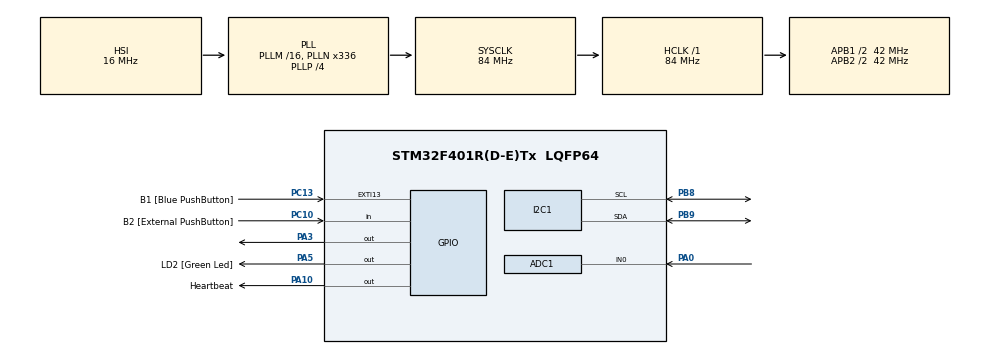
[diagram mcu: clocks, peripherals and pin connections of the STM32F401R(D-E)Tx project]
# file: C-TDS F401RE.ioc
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ADC1.Channel-4\#ChannelRegularConversion=ADC_CHANNEL_0
ADC1.ContinuousConvMode=ENABLE
ADC1.DMAContinuousRequests=ENABLE
ADC1.NbrOfConversionFlag=1
ADC1.Rank-4\#ChannelRegularConversion=1
ADC1.SamplingTime-4\#ChannelRegularConversion=ADC_SAMPLETIME_3CYCLES
ADC1.ScanConvMode=ENABLE
ADC1.master=1
Dma.ADC1.0.Direction=DMA_PERIPH_TO_MEMORY
Dma.ADC1.0.FIFOMode=DMA_FIFOMODE_DISABLE
Dma.ADC1.0.Instance=DMA2_Stream0
Dma.ADC1.0.MemDataAlignment=DMA_MDATAALIGN_HALFWORD
Dma.ADC1.0.MemInc=DMA_MINC_ENABLE
Dma.ADC1.0.Mode=DMA_CIRCULAR
Dma.ADC1.0.PeriphDataAlignment=DMA_PDATAALIGN_HALFWORD
Dma.ADC1.0.PeriphInc=DMA_PINC_DISABLE
Dma.ADC1.0.Priority=DMA_PRIORITY_VERY_HIGH
Dma.Request0=ADC1
Mcu.Family=STM32F4
Mcu.Name=STM32F401R(D-E)Tx
Mcu.Package=LQFP64
Mcu.UserConstants=WWDG_WINDOW,66;WWDG_TICKS,74
NVIC.DMA2_Stream0_IRQn=true\:0\:0\:false\:false\:true\:false\:true\:true
NVIC.PriorityGroup=NVIC_PRIORITYGROUP_0
NVIC.TIM1_TRG_COM_TIM11_IRQn=true\:0\:0\:false\:false\:true\:true\:true\:true
NVIC.TIM1_UP_TIM10_IRQn=true\:0\:0\:false\:false\:true\:false\:true\:true
NVIC.TimeBase=TIM1_UP_TIM10_IRQn
NVIC.TimeBaseIP=TIM1
NVIC.WWDG_IRQn=true\:0\:0\:false\:false\:true\:true\:true\:true
PA0-WKUP.Signal=ADCx_IN0
PA10.GPIO_Label=Heartbeat
PA10.GPIO_PuPd=GPIO_PULLDOWN
PA10.GPIO_Speed=GPIO_SPEED_FREQ_VERY_HIGH
PA10.PinState=GPIO_PIN_RESET
PA10.Signal=GPIO_Output
PA13.GPIO_Label=TMS
PA13.Mode=Serial_Wire
PA13.Signal=SYS_JTMS-SWDIO
PA14.GPIO_Label=TCK
PA14.Mode=Serial_Wire
PA14.Signal=SYS_JTCK-SWCLK
PA3.GPIO_Speed=GPIO_SPEED_FREQ_VERY_HIGH
PA3.Signal=GPIO_Output
PA5.GPIO_Label=LD2 [Green Led]
PA5.GPIO_Mode=GPIO_MODE_OUTPUT_PP
PA5.GPIO_PuPd=GPIO_NOPULL
PA5.GPIO_Speed=GPIO_SPEED_FREQ_LOW
PA5.Signal=GPIO_Output
PB3.GPIO_Label=SWO
PB3.Signal=SYS_JTDO-SWO
PB8.Mode=I2C
PB8.Signal=I2C1_SCL
PB9.Mode=I2C
PB9.Signal=I2C1_SDA
PC10.GPIO_Label=B2 [External PushButton]
PC10.GPIO_Mode=GPIO_MODE_INPUT
PC10.GPIO_PuPd=GPIO_NOPULL
PC10.Signal=GPIO_Input
PC13-ANTI_TAMP.GPIO_Label=B1 [Blue PushButton]
PC13-ANTI_TAMP.GPIO_ModeDefaultEXTI=GPIO_MODE_IT_FALLING
PC13-ANTI_TAMP.GPIO_PuPd=GPIO_NOPULL
PC13-ANTI_TAMP.Signal=GPXTI13
PC14-OSC32_IN.Mode=LSE-External-Oscillator
PC14-OSC32_IN.Signal=RCC_OSC32_IN
PC15-OSC32_OUT.Mode=LSE-External-Oscillator
PC15-OSC32_OUT.Signal=RCC_OSC32_OUT
PH0\ -\ OSC_IN.Mode=HSE-External-Clock-Source
PH0\ -\ OSC_IN.Signal=RCC_OSC_IN
PH1\ -\ OSC_OUT.Mode=HSE-External-Clock-Source
PH1\ -\ OSC_OUT.Signal=RCC_OSC_OUT
ProjectManager.HeapSize=0x200
ProjectManager.StackSize=0x400
ProjectManager.TargetToolchain=STM32CubeIDE
RCC.48MHZClocksFreq_Value=48000000
RCC.AHBFreq_Value=84000000
RCC.APB1CLKDivider=RCC_HCLK_DIV2
RCC.APB1Freq_Value=42000000
RCC.APB1TimFreq_Value=84000000
RCC.APB2CLKDivider=RCC_HCLK_DIV2
RCC.APB2Freq_Value=42000000
RCC.APB2TimFreq_Value=84000000
RCC.CortexFreq_Value=84000000
RCC.HCLKFreq_Value=84000000
RCC.HSE_VALUE=8000000
RCC.HSI_VALUE=16000000
RCC.PLLN=336
RCC.PLLP=RCC_PLLP_DIV4
RCC.PLLQ=7
RCC.SYSCLKFreq_VALUE=84000000
RCC.SYSCLKSource=RCC_SYSCLKSOURCE_PLLCLK
RCC.VCOOutputFreq_Value=336000000
SH.ADCx_IN0.0=ADC1_IN0,IN0
TIM11.Prescaler=84-1
VP_SYS_VS_tim1.Mode=TIM1
VP_TIM11_VS_ClockSourceINT.Mode=Enable_Timer
VP_WWDG_VS_WWDG.Mode=WWDG_Activate
WWDG.Counter=WWDG_TICKS
WWDG.Prescaler=WWDG_PRESCALER_2
WWDG.Window=WWDG_WINDOW
board=NUCLEO-F401RE

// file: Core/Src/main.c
/* USER CODE BEGIN Header */
/**
  ******************************************************************************
  * @file           : main.c
  * @brief          : Main program body
  ******************************************************************************
  * @attention
  *
  * <h2><center>&copy; Copyright (c) 2022 STMicroelectronics.
  * All rights reserved.</center></h2>
  *
  * This software component is licensed by ST under BSD 3-Clause license,
  * the "License"; You may not use this file except in compliance with the
  * License. You may obtain a copy of the License at:
  *                        opensource.org/licenses/BSD-3-Clause
  *
  ******************************************************************************
  */
/* USER CODE END Header */
#include "main.h"

/* USER CODE BEGIN PD */

/* Definitions of ADC hardware constraints delays */
/* Note: Only ADC IP HW delays are defined in ADC LL driver driver,           */
/*       not timeout values:                                                  */
/*       Timeout values for ADC operations are dependent to device clock      */
/*       configuration (system clock versus ADC clock),                       */
/*       and therefore must be defined in user application.                   */
/*       Refer to @ref ADC_LL_EC_HW_DELAYS for description of ADC timeout     */
/*       values definition.                                                   */

  /* Timeout values for ADC operations. */
  /* (enable settling time, disable settling time, ...)                       */
  /* Values defined to be higher than worst cases: low clock frequency,       */
  /* maximum prescalers.                                                      */
  /* Example of profile very low frequency : ADC clock frequency 36MHz        */
  /* prescaler 2, sampling time 56 ADC clock cycles, resolution 12 bits.      */
  /*  - ADC enable time: maximum delay is 3 us                                */
  /*    (refer to device datasheet, parameter "tSTAB")                        */
  /*  - ADC disable time: maximum delay should be a few ADC clock cycles      */
  /*  - ADC stop conversion time: maximum delay should be a few ADC clock     */
  /*    cycles                                                                */
  /*  - ADC conversion time: with this hypothesis of clock settings, maximum  */
  /*    delay will be 99us.                                                   */
  /*    (refer to device reference manual, section "Timing")                  */
  /* Unit: ms                                                                 */
  #define ADC_CALIBRATION_TIMEOUT_MS       ((uint32_t)   1)
  #define ADC_ENABLE_TIMEOUT_MS            ((uint32_t)   1)
  #define ADC_DISABLE_TIMEOUT_MS           ((uint32_t)   1)
  #define ADC_STOP_CONVERSION_TIMEOUT_MS   ((uint32_t)   1)
  #define ADC_CONVERSION_TIMEOUT_MS        ((uint32_t)   2)

/* Definitions of environment analog values */
  /* Value of analog reference voltage (Vref+), connected to analog voltage   */
  /* supply Vdda (unit: mV).                                                  */
  #define VDDA_APPLI                       ((uint32_t)3300)

/* Definitions of data related to this example */
  /* ADC unitary conversion timeout */
  /* Considering ADC settings, duration of 1 ADC conversion should always    */
  /* be lower than 1ms.                                                      */
  #define ADC_UNITARY_CONVERSION_TIMEOUT_MS ((uint32_t)   1)

  /* Init variable out of expected ADC conversion data range */
  #define VAR_CONVERTED_DATA_INIT_VALUE    (__LL_ADC_DIGITAL_SCALE(LL_ADC_RESOLUTION_12B) + 1)
/* USER CODE END PD */

ADC_HandleTypeDef hadc1;
DMA_HandleTypeDef hdma_adc1;

I2C_HandleTypeDef hi2c1;

TIM_HandleTypeDef htim11;

WWDG_HandleTypeDef hwwdg;

/* USER CODE BEGIN PV */
uint16_t adc_buf[ADC_BUF_LEN];

/* USER CODE END PV */

void SystemClock_Config(void);
static void MX_GPIO_Init(void);
static void MX_DMA_Init(void);
static void MX_TIM11_Init(void);
static void MX_WWDG_Init(void);
static void MX_ADC1_Init(void);
static void MX_I2C1_Init(void);

int main(void)
{

  /* MCU Configuration--------------------------------------------------------*/

  /* Reset of all peripherals, Initializes the Flash interface and the Systick. */
  HAL_Init();

  /* Configure the system clock */
  SystemClock_Config();

  /* USER CODE BEGIN SysInit */
  MX_GPIO_Init();
  SYSTEM_Init();
  SCH_Start();
  /* USER CODE END SysInit */

  /* Initialize all configured peripherals */
  MX_GPIO_Init();
  MX_DMA_Init();
  MX_TIM11_Init();
  MX_WWDG_Init();
  MX_ADC1_Init();
  MX_I2C1_Init();
  /* USER CODE BEGIN 2 */
  HAL_ADC_Start_DMA(&hadc1, (uint32_t *) adc_buf, ADC_BUF_LEN);
  DISPLAY_Init(2);														//DISPLAY

  /* USER CODE END 2 */

  /* Infinite loop */
  /* USER CODE BEGIN WHILE */
  while (1)
  {

	 SCH_Dispatch_Tasks();

    /* USER CODE END WHILE */

    /* USER CODE BEGIN 3 */
  }
  return (RETURN_FAULT);
  /* USER CODE END 3 */
}

void SystemClock_Config(void)
{
  RCC_OscInitTypeDef RCC_OscInitStruct = {0};
  RCC_ClkInitTypeDef RCC_ClkInitStruct = {0};

  /** Configure the main internal regulator output voltage
  */
  __HAL_RCC_PWR_CLK_ENABLE();
  __HAL_PWR_VOLTAGESCALING_CONFIG(PWR_REGULATOR_VOLTAGE_SCALE2);

  /** Initializes the RCC Oscillators according to the specified parameters
  * in the RCC_OscInitTypeDef structure.
  */
  RCC_OscInitStruct.OscillatorType = RCC_OSCILLATORTYPE_HSI;
  RCC_OscInitStruct.HSIState = RCC_HSI_ON;
  RCC_OscInitStruct.HSICalibrationValue = RCC_HSICALIBRATION_DEFAULT;
  RCC_OscInitStruct.PLL.PLLState = RCC_PLL_ON;
  RCC_OscInitStruct.PLL.PLLSource = RCC_PLLSOURCE_HSI;
  RCC_OscInitStruct.PLL.PLLM = 16;
  RCC_OscInitStruct.PLL.PLLN = 336;
  RCC_OscInitStruct.PLL.PLLP = RCC_PLLP_DIV4;
  RCC_OscInitStruct.PLL.PLLQ = 7;
  if (HAL_RCC_OscConfig(&RCC_OscInitStruct) != HAL_OK)
  {
    Error_Handler();
  }

  /** Initializes the CPU, AHB and APB buses clocks
  */
  RCC_ClkInitStruct.ClockType = RCC_CLOCKTYPE_HCLK|RCC_CLOCKTYPE_SYSCLK
                              |RCC_CLOCKTYPE_PCLK1|RCC_CLOCKTYPE_PCLK2;
  RCC_ClkInitStruct.SYSCLKSource = RCC_SYSCLKSOURCE_PLLCLK;
  RCC_ClkInitStruct.AHBCLKDivider = RCC_SYSCLK_DIV1;
  RCC_ClkInitStruct.APB1CLKDivider = RCC_HCLK_DIV2;
  RCC_ClkInitStruct.APB2CLKDivider = RCC_HCLK_DIV2;

  if (HAL_RCC_ClockConfig(&RCC_ClkInitStruct, FLASH_LATENCY_2) != HAL_OK)
  {
    Error_Handler();
  }
}

static void MX_ADC1_Init(void)
{

  ADC_ChannelConfTypeDef sConfig = {0};

  /** Configure the global features of the ADC (Clock, Resolution, Data Alignment and number of conversion)
  */
  hadc1.Instance = ADC1;
  hadc1.Init.ClockPrescaler = ADC_CLOCK_SYNC_PCLK_DIV2;
  hadc1.Init.Resolution = ADC_RESOLUTION_12B;
  hadc1.Init.ScanConvMode = ENABLE;
  hadc1.Init.ContinuousConvMode = ENABLE;
  hadc1.Init.DiscontinuousConvMode = DISABLE;
  hadc1.Init.ExternalTrigConvEdge = ADC_EXTERNALTRIGCONVEDGE_NONE;
  hadc1.Init.ExternalTrigConv = ADC_SOFTWARE_START;
  hadc1.Init.DataAlign = ADC_DATAALIGN_RIGHT;
  hadc1.Init.NbrOfConversion = 1;
  hadc1.Init.DMAContinuousRequests = ENABLE;
  hadc1.Init.EOCSelection = ADC_EOC_SINGLE_CONV;
  if (HAL_ADC_Init(&hadc1) != HAL_OK)
  {
    Error_Handler();
  }

  /** Configure for the selected ADC regular channel its corresponding rank in the sequencer and its sample time.
  */
  sConfig.Channel = ADC_CHANNEL_0;
  sConfig.Rank = 1;
  sConfig.SamplingTime = ADC_SAMPLETIME_3CYCLES;
  if (HAL_ADC_ConfigChannel(&hadc1, &sConfig) != HAL_OK)
  {
    Error_Handler();
  }

}

static void MX_I2C1_Init(void)
{

  hi2c1.Instance = I2C1;
  hi2c1.Init.ClockSpeed = 100000;
  hi2c1.Init.DutyCycle = I2C_DUTYCYCLE_2;
  hi2c1.Init.OwnAddress1 = 0;
  hi2c1.Init.AddressingMode = I2C_ADDRESSINGMODE_7BIT;
  hi2c1.Init.DualAddressMode = I2C_DUALADDRESS_DISABLE;
  hi2c1.Init.OwnAddress2 = 0;
  hi2c1.Init.GeneralCallMode = I2C_GENERALCALL_DISABLE;
  hi2c1.Init.NoStretchMode = I2C_NOSTRETCH_DISABLE;
  if (HAL_I2C_Init(&hi2c1) != HAL_OK)
  {
    Error_Handler();
  }

}

static void MX_TIM11_Init(void)
{

  htim11.Instance = TIM11;
  htim11.Init.Prescaler = 84-1;
  htim11.Init.CounterMode = TIM_COUNTERMODE_UP;
  htim11.Init.Period = 65535;
  htim11.Init.ClockDivision = TIM_CLOCKDIVISION_DIV1;
  htim11.Init.AutoReloadPreload = TIM_AUTORELOAD_PRELOAD_DISABLE;
  if (HAL_TIM_Base_Init(&htim11) != HAL_OK)
  {
    Error_Handler();
  }

}

static void MX_WWDG_Init(void)
{

  /* USER CODE BEGIN WWDG_Init 0 */
  if(!WWDG_ENABLED) {
	  return;
  }
  /* USER CODE END WWDG_Init 0 */

  hwwdg.Instance = WWDG;
  hwwdg.Init.Prescaler = WWDG_PRESCALER_2;
  hwwdg.Init.Window = WWDG_WINDOW;
  hwwdg.Init.Counter = WWDG_TICKS;
  hwwdg.Init.EWIMode = WWDG_EWI_DISABLE;
  if (HAL_WWDG_Init(&hwwdg) != HAL_OK)
  {
    Error_Handler();
  }

}

static void MX_DMA_Init(void)
{

  /* DMA controller clock enable */
  __HAL_RCC_DMA2_CLK_ENABLE();

  /* DMA interrupt init */
  /* DMA2_Stream0_IRQn interrupt configuration */
  HAL_NVIC_SetPriority(DMA2_Stream0_IRQn, 0, 0);
  HAL_NVIC_EnableIRQ(DMA2_Stream0_IRQn);

}

static void MX_GPIO_Init(void)
{
  GPIO_InitTypeDef GPIO_InitStruct = {0};

  /* GPIO Ports Clock Enable */
  __HAL_RCC_GPIOC_CLK_ENABLE();
  __HAL_RCC_GPIOH_CLK_ENABLE();
  __HAL_RCC_GPIOA_CLK_ENABLE();
  __HAL_RCC_GPIOB_CLK_ENABLE();

  /*Configure GPIO pin Output Level */
  HAL_GPIO_WritePin(GPIOA, GPIO_PIN_3|LD2_Pin|Heartbeat_Pin, GPIO_PIN_RESET);

  /*Configure GPIO pin : B1_Pin */
  GPIO_InitStruct.Pin = B1_Pin;
  GPIO_InitStruct.Mode = GPIO_MODE_IT_FALLING;
  GPIO_InitStruct.Pull = GPIO_NOPULL;
  HAL_GPIO_Init(B1_GPIO_Port, &GPIO_InitStruct);

  /*Configure GPIO pin : PA3 */
  GPIO_InitStruct.Pin = GPIO_PIN_3;
  GPIO_InitStruct.Mode = GPIO_MODE_OUTPUT_PP;
  GPIO_InitStruct.Pull = GPIO_NOPULL;
  GPIO_InitStruct.Speed = GPIO_SPEED_FREQ_VERY_HIGH;
  HAL_GPIO_Init(GPIOA, &GPIO_InitStruct);

  /*Configure GPIO pin : LD2_Pin */
  GPIO_InitStruct.Pin = LD2_Pin;
  GPIO_InitStruct.Mode = GPIO_MODE_OUTPUT_PP;
  GPIO_InitStruct.Pull = GPIO_NOPULL;
  GPIO_InitStruct.Speed = GPIO_SPEED_FREQ_LOW;
  HAL_GPIO_Init(LD2_GPIO_Port, &GPIO_InitStruct);

  /*Configure GPIO pin : Heartbeat_Pin */
  GPIO_InitStruct.Pin = Heartbeat_Pin;
  GPIO_InitStruct.Mode = GPIO_MODE_OUTPUT_PP;
  GPIO_InitStruct.Pull = GPIO_PULLDOWN;
  GPIO_InitStruct.Speed = GPIO_SPEED_FREQ_VERY_HIGH;
  HAL_GPIO_Init(Heartbeat_GPIO_Port, &GPIO_InitStruct);

  /*Configure GPIO pin : B2_Pin */
  GPIO_InitStruct.Pin = B2_Pin;
  GPIO_InitStruct.Mode = GPIO_MODE_INPUT;
  GPIO_InitStruct.Pull = GPIO_NOPULL;
  HAL_GPIO_Init(B2_GPIO_Port, &GPIO_InitStruct);

}

void HAL_TIM_PeriodElapsedCallback(TIM_HandleTypeDef *htim)
{
  /* USER CODE BEGIN Callback 0 */
  if (htim->Instance == TIM11) {
	MONITOR_IRQHandler();
  }
  /* USER CODE END Callback 0 */
  if (htim->Instance == TIM1) {
    HAL_IncTick();
  }
}

void Error_Handler(void)
{
  __disable_irq();
  while (1)
  {
  }
}
